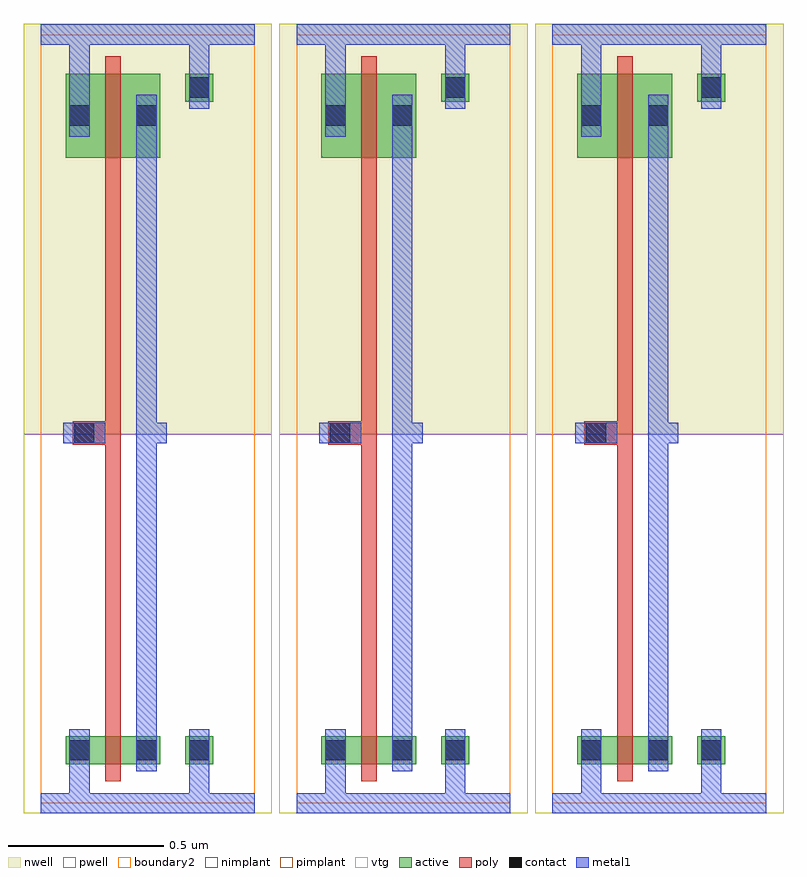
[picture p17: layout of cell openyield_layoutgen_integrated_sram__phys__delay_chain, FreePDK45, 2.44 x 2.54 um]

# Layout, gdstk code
import gdstk
lib = gdstk.Library(unit=1e-6, precision=5e-10)
def R(c, l, rs):  # rectangles x0, y0, x1, y1
    for r in rs: c.add(gdstk.rectangle(r[:2], r[2:], *l))
active = (1, 0)
pwell = (2, 0)
nwell = (3, 0)
nimplant = (4, 0)
pimplant = (5, 0)
vtg = (6, 0)
poly = (9, 0)
contact = (10, 0)
metal1 = (11, 0)
boundary2 = (239, 0)

sram_1rw_32x16_freepdk45 = lib.new_cell('sram_1rw_32x16_freepdk45_contact_11')
R(sram_1rw_32x16_freepdk45, active, [(0,0.0225,0.09,0.1125)])
R(sram_1rw_32x16_freepdk45, nwell, [(-0.055,-0.0325,0.145,0.1675)])
R(sram_1rw_32x16_freepdk45, pimplant, [(0,0.0225,0.09,0.1125)])
R(sram_1rw_32x16_freepdk45, contact, [(0.0125,0.035,0.0775,0.1)])
R(sram_1rw_32x16_freepdk45, metal1, [(0.0125,0,0.0775,0.135)])
R(sram_1rw_32x16_freepdk45, boundary2, [(-0.055,-0.0325,0.145,0.1675)])

c_sram_1rw_32x16_freepdk45 = lib.new_cell('sram_1rw_32x16_freepdk45_pmos_m1_w0_270_sm1_dm1_da_p')
R(c_sram_1rw_32x16_freepdk45, active, [(0,0,0.305,0.27)])
R(c_sram_1rw_32x16_freepdk45, nwell, [(-0.08,-0.08,0.385,0.35)])
R(c_sram_1rw_32x16_freepdk45, pimplant, [(0,0,0.305,0.27)])
R(c_sram_1rw_32x16_freepdk45, vtg, [(-0.08,-0.08,0.385,0.35)])
R(c_sram_1rw_32x16_freepdk45, poly, [(0.1275,-0.055,0.1775,0.325), (0.1275,-0.055,0.1775,0.325)])
R(c_sram_1rw_32x16_freepdk45, metal1, [(0.0125,0.0675,0.0775,0.2025), (0.2275,0.0675,0.2925,0.2025)])
R(c_sram_1rw_32x16_freepdk45, boundary2, [(-0.08,-0.08,0.385,0.35)])
c_sram_1rw_32x16_freepdk45.add(gdstk.Reference(sram_1rw_32x16_freepdk45, (0,0.0675)))
c_sram_1rw_32x16_freepdk45.add(gdstk.Reference(sram_1rw_32x16_freepdk45, (0.215,0.0675)))
c_sram_1rw_32x16_freepdk45.add(gdstk.Label('G', (0.1525,0.135), layer=9, texttype=0))
c_sram_1rw_32x16_freepdk45.add(gdstk.Label('S', (0.045,0.135), layer=11, texttype=0))
c_sram_1rw_32x16_freepdk45.add(gdstk.Label('D', (0.26,0.135), layer=11, texttype=0))

c_sram_1rw_32x16_freepdk45_ = lib.new_cell('sram_1rw_32x16_freepdk45_contact_10')
R(c_sram_1rw_32x16_freepdk45_, active, [(0,0.0225,0.09,0.1125)])
R(c_sram_1rw_32x16_freepdk45_, pwell, [(-0.055,-0.0325,0.145,0.1675)])
R(c_sram_1rw_32x16_freepdk45_, nimplant, [(0,0.0225,0.09,0.1125)])
R(c_sram_1rw_32x16_freepdk45_, contact, [(0.0125,0.035,0.0775,0.1)])
R(c_sram_1rw_32x16_freepdk45_, metal1, [(0.0125,0,0.0775,0.135)])
R(c_sram_1rw_32x16_freepdk45_, boundary2, [(-0.055,-0.0325,0.145,0.1675)])

c_sram_1rw_32x16_freepdk45__ = lib.new_cell('sram_1rw_32x16_freepdk45_nmos_m1_w0_090_sm1_dm1_da_p')
R(c_sram_1rw_32x16_freepdk45__, active, [(0,0,0.305,0.09)])
R(c_sram_1rw_32x16_freepdk45__, pwell, [(-0.08,-0.08,0.385,0.17)])
R(c_sram_1rw_32x16_freepdk45__, nimplant, [(0,0,0.305,0.09)])
R(c_sram_1rw_32x16_freepdk45__, vtg, [(-0.08,-0.08,0.385,0.17)])
R(c_sram_1rw_32x16_freepdk45__, poly, [(0.1275,-0.055,0.1775,0.145), (0.1275,-0.055,0.1775,0.145)])
R(c_sram_1rw_32x16_freepdk45__, metal1, [(0.0125,-0.0225,0.0775,0.1125), (0.2275,-0.0225,0.2925,0.1125)])
R(c_sram_1rw_32x16_freepdk45__, boundary2, [(-0.08,-0.08,0.385,0.17)])
c_sram_1rw_32x16_freepdk45__.add(gdstk.Reference(c_sram_1rw_32x16_freepdk45_, (0,-0.0225)))
c_sram_1rw_32x16_freepdk45__.add(gdstk.Reference(c_sram_1rw_32x16_freepdk45_, (0.215,-0.0225)))
c_sram_1rw_32x16_freepdk45__.add(gdstk.Label('G', (0.1525,0.045), layer=9, texttype=0))
c_sram_1rw_32x16_freepdk45__.add(gdstk.Label('S', (0.045,0.045), layer=11, texttype=0))
c_sram_1rw_32x16_freepdk45__.add(gdstk.Label('D', (0.26,0.045), layer=11, texttype=0))

c_sram_1rw_32x16_freepdk45___ = lib.new_cell('sram_1rw_32x16_freepdk45_contact_12')
R(c_sram_1rw_32x16_freepdk45___, active, [(0,0.0225,0.09,0.1125)])
R(c_sram_1rw_32x16_freepdk45___, nwell, [(-0.055,-0.0325,0.145,0.1675)])
R(c_sram_1rw_32x16_freepdk45___, nimplant, [(0,0.0225,0.09,0.1125)])
R(c_sram_1rw_32x16_freepdk45___, contact, [(0.0125,0.035,0.0775,0.1)])
R(c_sram_1rw_32x16_freepdk45___, metal1, [(0.0125,0,0.0775,0.135)])
R(c_sram_1rw_32x16_freepdk45___, boundary2, [(-0.055,-0.0325,0.145,0.1675)])

c_sram_1rw_32x16_freepdk45____ = lib.new_cell('sram_1rw_32x16_freepdk45_contact_13')
R(c_sram_1rw_32x16_freepdk45____, active, [(0,0.0225,0.09,0.1125)])
R(c_sram_1rw_32x16_freepdk45____, pwell, [(-0.055,-0.0325,0.145,0.1675)])
R(c_sram_1rw_32x16_freepdk45____, pimplant, [(0,0.0225,0.09,0.1125)])
R(c_sram_1rw_32x16_freepdk45____, contact, [(0.0125,0.035,0.0775,0.1)])
R(c_sram_1rw_32x16_freepdk45____, metal1, [(0.0125,0,0.0775,0.135)])
R(c_sram_1rw_32x16_freepdk45____, boundary2, [(-0.055,-0.0325,0.145,0.1675)])

c_sram_1rw_32x16_freepdk45_____ = lib.new_cell('sram_1rw_32x16_freepdk45_contact_14')
R(c_sram_1rw_32x16_freepdk45_____, poly, [(0.03,0,0.105,0.075)])
R(c_sram_1rw_32x16_freepdk45_____, contact, [(0.035,0.005,0.1,0.07)])
R(c_sram_1rw_32x16_freepdk45_____, metal1, [(0,0.005,0.135,0.07)])
R(c_sram_1rw_32x16_freepdk45_____, boundary2, [(0,0,0.135,0.075)])

gen_delay_inv = lib.new_cell('gen_delay_inv')
R(gen_delay_inv, pwell, [(-0.055,-0.0325,0.7425,1.185)])
R(gen_delay_inv, nwell, [(-0.055,1.185,0.7425,2.505)])
R(gen_delay_inv, vtg, [(-0.055,-0.0325,0.7425,1.185), (-0.055,1.185,0.7425,2.505)])
R(gen_delay_inv, poly, [(0.2075,0.27,0.2575,2.02), (0.14,1.1525,0.2075,1.2275)])
R(gen_delay_inv, metal1, [(0,-0.0325,0.6875,0.0325), (0.0925,-0.0325,0.1575,0.1025), (0.4775,0,0.5425,0.17), (0.3075,0.1025,0.3725,2.2775), (0.0725,1.1575,0.2075,1.2225), (0.34,1.1575,0.405,1.2225), (0.0925,2.1425,0.1575,2.5025), (0.4775,2.3,0.5425,2.47), (0,2.4375,0.6875,2.5025)])
R(gen_delay_inv, boundary2, [(0,0,0.6875,2.47), (0,0,0.6875,2.47)])
gen_delay_inv.add(gdstk.Reference(c_sram_1rw_32x16_freepdk45, (0.08,2.075)))
gen_delay_inv.add(gdstk.Reference(c_sram_1rw_32x16_freepdk45__, (0.08,0.125)))
gen_delay_inv.add(gdstk.Reference(c_sram_1rw_32x16_freepdk45___, (0.465,2.2325)))
gen_delay_inv.add(gdstk.Reference(c_sram_1rw_32x16_freepdk45____, (0.465,0.1025)))
gen_delay_inv.add(gdstk.Reference(c_sram_1rw_32x16_freepdk45_____, (0.0725,1.1525)))
gen_delay_inv.add(gdstk.Label('A', (0.14,1.19), layer=11, texttype=0))
gen_delay_inv.add(gdstk.Label('Z', (0.3725,1.19), layer=11, texttype=0))
gen_delay_inv.add(gdstk.Label('gnd', (0.345,0), layer=11, texttype=0))
gen_delay_inv.add(gdstk.Label('vdd', (0.345,2.47), layer=11, texttype=0))

openyield_layoutgen_inte = lib.new_cell('openyield_layoutgen_integrated_sram__phys__delay_chain')
openyield_layoutgen_inte.add(gdstk.Reference(gen_delay_inv, (0.3425,20.9925)))
openyield_layoutgen_inte.add(gdstk.Reference(gen_delay_inv, (1.165,20.9925)))
openyield_layoutgen_inte.add(gdstk.Reference(gen_delay_inv, (1.9875,20.9925)))

lib.write_gds('openyield_layoutgen_integrated_sram__phys__delay_chain.gds')
